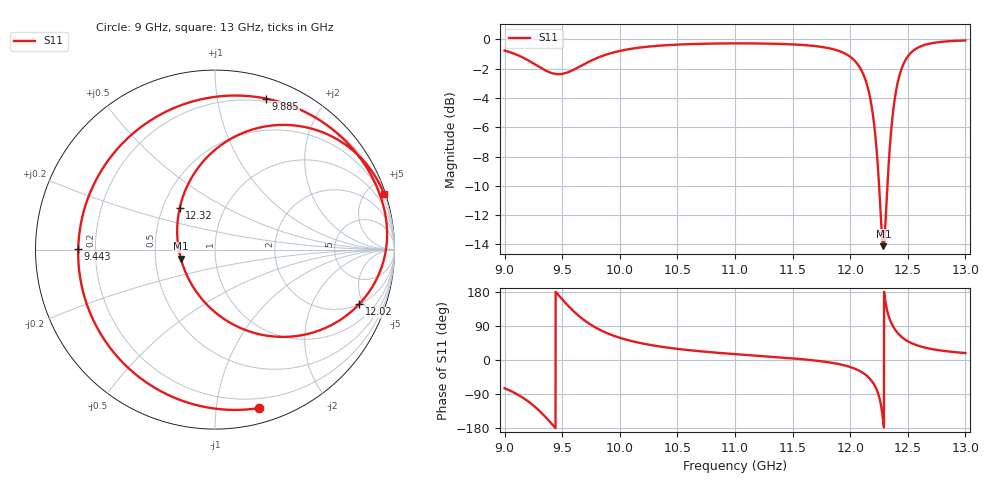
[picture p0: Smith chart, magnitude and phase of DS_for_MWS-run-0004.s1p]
! TOUCHSTONE file generated by CST DESIGN STUDIO
! Date and time: Tue Feb  4 17:24:07 2025
! Project name: C:\Work\MatlabApps\UnitCellOptimizationMatlab\CST\unitcell.cst
! Tree item: Tasks\Sweep1\SPara1\S-Parameters
! Header version: 2024
! Port assignment regex: !\s*Touchstone port\s*([0-9]+)\s*=\s*(CST MWS port|CST DES external port|CST DES block port)\s*(.+)\s* \(\"(.*)\"\)(\s*mode\s*([0-9]+))?.*
! Touchstone port assignment:
! Touchstone port 1 = CST DES external port 1 ("")
# GHz S MA R 50
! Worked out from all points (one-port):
!   4001 points, 9 GHz to 13 GHz, reference 50 ohm
!   lowest |S11| = -14.1 dB at 12.29 GHz (marker M1), VSWR 1.49, Z = 33.9 - j3.57 ohm
!   |S11| at or under -10 dB: 12.25 GHz to 12.32 GHz (72.07 MHz wide, 0.587 % of centre)
!   S11 on the Smith chart (normalised r, x): 9 GHz: 0.12, -1.31; 9.443 GHz: 0.13, +0.00; 9.885 GHz: 0.17, +1.38; 12.02 GHz: 2.00, -4.62; 12.32 GHz: 0.61, +0.32; 13 GHz: 0.17, +6.19
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9  0.9161 -74.6
9.133  0.8766 -94.7
9.236  0.8342 -116.6
9.353  0.7839 -149.8
9.443  0.7622 179.8
9.5  0.7629 160.1
9.587  0.7836 132.2
9.672  0.8156 109.5
9.766  0.8515 89.8
9.885  0.8881 71.4
10  0.9133 58.6
10.215  0.9418 42.5
10.5  0.9597 29.4
11  0.9691 15.5
11.5  0.9614 4.3
11.819  0.9323 -6.3
12  0.8722 -18.5
12.022  0.8582 -20.8
12.118  0.7531 -35.5
12.196  0.5573 -59.3
12.242  0.3598 -87.9
12.288  0.1969 -165.1
12.321  0.3054 130.0
12.359  0.5051 96.4
12.396  0.6601 77.5
12.5  0.8745 49.5
12.675  0.9642 30.9
13  0.9916 18.3
